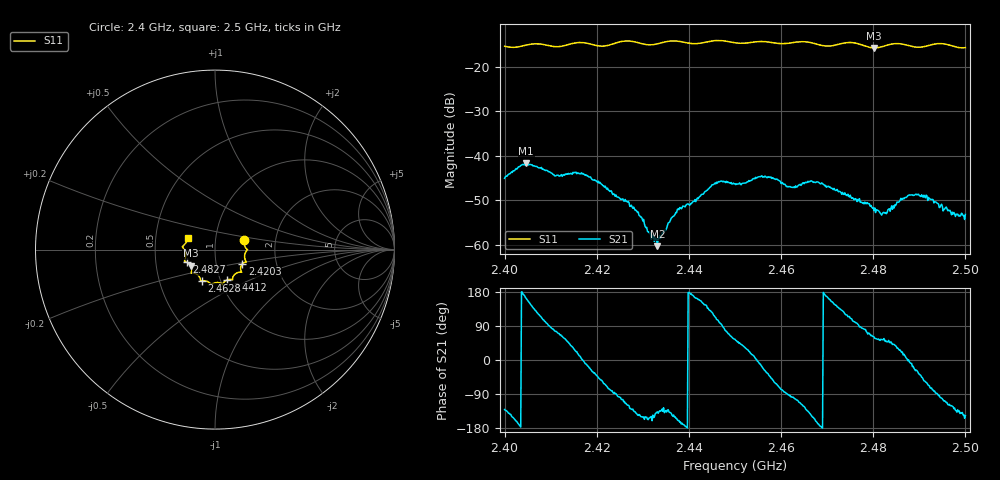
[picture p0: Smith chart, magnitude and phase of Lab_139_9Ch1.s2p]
# Hz S RI R 50
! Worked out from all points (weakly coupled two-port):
!   601 points, 2.4 GHz to 2.5 GHz, reference 50 ohm
!   highest |S21| = -41.70 dB at 2.4047 GHz (marker M1); lowest = -60.3 dB at 2.4332 GHz (marker M2)
!   lowest |S11| = -15.8 dB at 2.4802 GHz (marker M3), VSWR 1.39, Z = 37.5 - j6.92 ohm
!   |S11| at or under -10 dB: start of sweep to end of sweep
!   S12 and S22 are empty: the file has one direction only
!   S11 on the Smith chart (normalised r, x): 2.4 GHz: 1.38, +0.15; 2.4203 GHz: 1.34, -0.22; 2.4412 GHz: 1.08, -0.38; 2.4628 GHz: 0.82, -0.29; 2.4827 GHz: 0.72, -0.10; 2.5 GHz: 0.73, +0.10
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2.4e9  0.1618 0.0528  -0.00364 -0.00423  0 0  0 0
2.404667e9  0.1753 0.00538  -0.00784 0.00247  0 0  0 0
2.411333e9  0.1657 -0.029  0.00165 0.00583  0 0  0 0
2.416667e9  0.1741 -0.0691  0.00643 0.000409  0 0  0 0
2.420333e9  0.1525 -0.0794  0.00361 -0.00373  0 0  0 0
2.4285e9  0.1418 -0.1255  -0.00188 -0.00157  0 0  0 0
2.4315e9  0.1122 -0.1362  -0.00118 -0.000619  0 0  0 0
2.433167e9  0.1008 -0.1506  -0.000702 -0.000664  0 0  0 0
2.433333e9  0.1001 -0.152  -0.000914 -0.00075  0 0  0 0
2.437667e9  0.0964 -0.1683  -0.00237 -0.000871  0 0  0 0
2.441167e9  0.0683 -0.1685  -0.003 0.000735  0 0  0 0
2.446e9  0.0425 -0.1927  -0.00148 0.00484  0 0  0 0
2.45e9  0.0245 -0.1846  0.00281 0.00395  0 0  0 0
2.456167e9  -0.0205 -0.191  0.00532 -0.00232  0 0  0 0
2.462833e9  -0.0718 -0.1737  -0.000848 -0.00441  0 0  0 0
2.466667e9  -0.0808 -0.1676  -0.00442 -0.00274  0 0  0 0
2.480167e9  -0.136 -0.0898  0.00117 0.00212  0 0  0 0
2.482667e9  -0.1579 -0.0704  0.00143 0.00181  0 0  0 0
2.483333e9  -0.163 -0.0682  0.00156 0.00198  0 0  0 0
2.486333e9  -0.1692 -0.0609  0.00305 0.00117  0 0  0 0
2.4895e9  -0.1637 -0.0283  0.00321 -0.00173  0 0  0 0
2.5e9  -0.1511 0.0645  -0.00184 -0.00122  0 0  0 0
